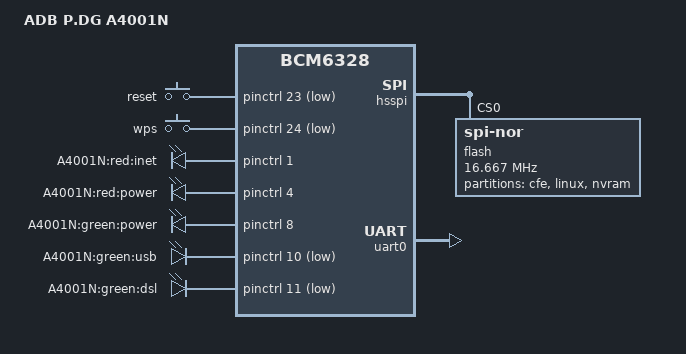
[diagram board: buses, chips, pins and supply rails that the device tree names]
/dts-v1/;

#include "bcm6328.dtsi"

#include <dt-bindings/input/input.h>

/ {
	model = "ADB P.DG A4001N";
	compatible = "adb,a4001n", "brcm,bcm6328";

	chosen {
		bootargs = "rootfstype=squashfs,jffs2 noinitrd console=ttyS0,115200";
		stdout-path = "serial0:115200n8";
	};

	keys {
		compatible = "gpio-keys-polled";
		#address-cells = <1>;
		#size-cells = <0>;
		poll-interval = <20>;

		reset {
			label = "reset";
			gpios = <&pinctrl 23 1>;
			linux,code = <KEY_RESTART>;
			debounce-interval = <60>;
		};

		wps {
			label = "wps";
			gpios = <&pinctrl 24 1>;
			linux,code = <KEY_WPS_BUTTON>;
			debounce-interval = <60>;
		};
	};

	leds {
		compatible = "gpio-leds";

		inet_red {
			label = "A4001N:red:inet";
			gpios = <&pinctrl 1 0>;
		};
		power_red {
			label = "A4001N:red:power";
			gpios = <&pinctrl 4 0>;
		};
		power_green {
			label = "A4001N:green:power";
			gpios = <&pinctrl 8 0>;
			default-state = "on";
		};
		usb_green {
			label = "A4001N:green:usb";
			gpios = <&pinctrl 10 1>;
		};
		dsl_green {
			label = "A4001N:green:dsl";
			gpios = <&pinctrl 11 1>;
		};
	};
};

&hsspi {
	status = "ok";

	flash@0 {
		compatible = "jedec,spi-nor";
		spi-max-frequency = <16666667>;
		spi-tx-bus-width = <2>;
		spi-rx-bus-width = <2>;
		reg = <0>;

		partitions {
			compatible = "fixed-partitions";
			#address-cells = <1>;
			#size-cells = <1>;

			cfe@0 {
				reg = <0x000000 0x010000>;
				label = "cfe";
				read-only;
			};

			linux@10000 {
				reg = <0x010000 0x7e0000>;
				label = "linux";
				compatible = "brcm,bcm963xx-imagetag";
			};

			nvram@7f0000 {
				reg = <0x7f0000 0x010000>;
				label = "nvram";
			};
		};
	};
};

&uart0 {
	status = "ok";
};
